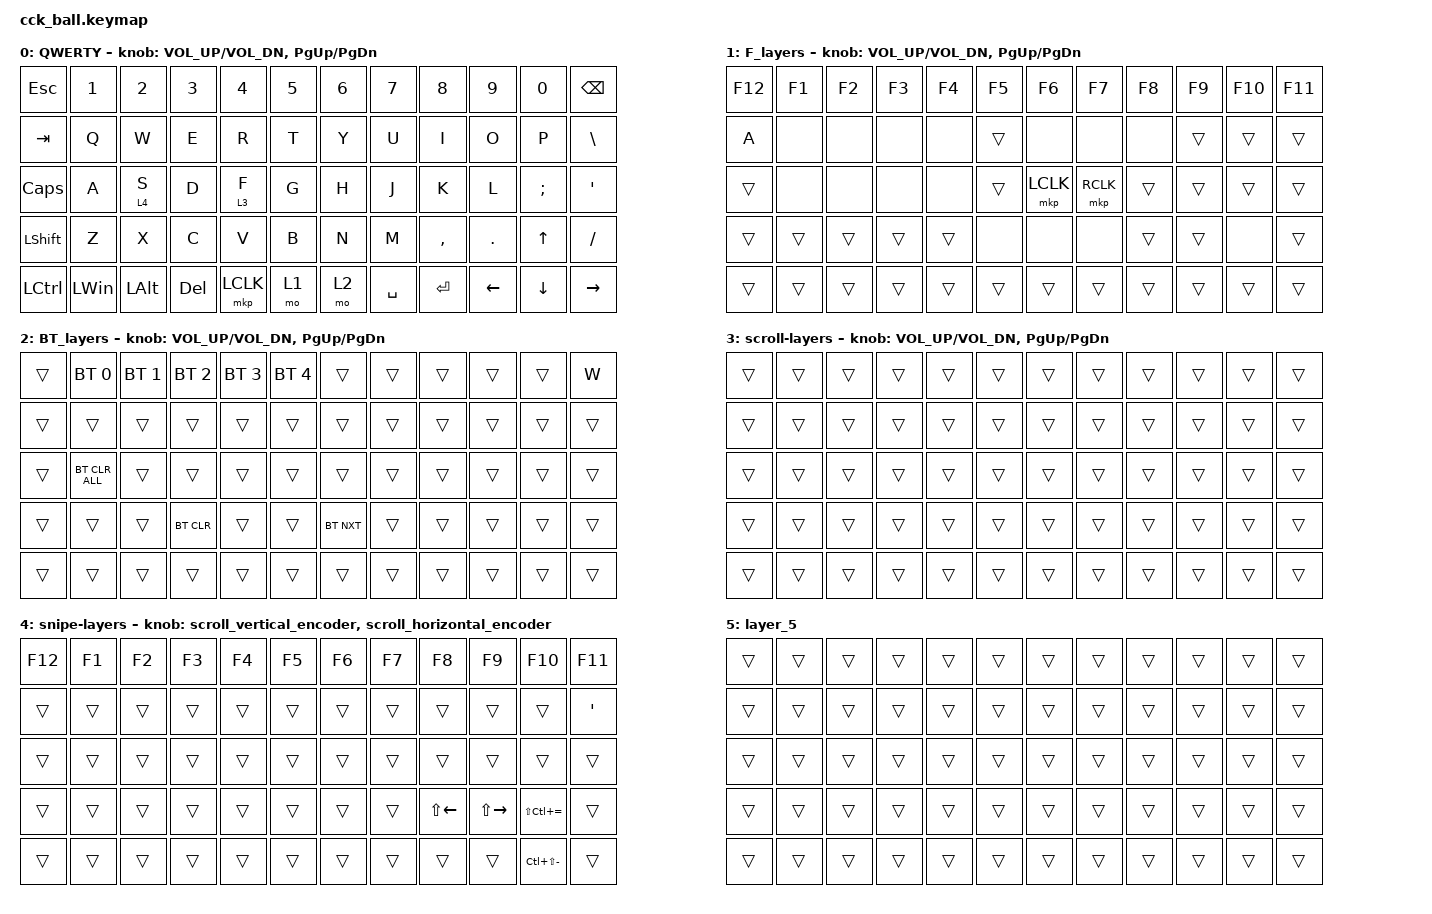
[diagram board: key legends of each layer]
#define ZMK_POINTING_DEFAULT_MOVE_VAL 1000 // 600
#define ZMK_POINTING_DEFAULT_SCRL_VAL 12   // 10

#include <input/processors.dtsi>
#include <zephyr/dt-bindings/input/input-event-codes.h>
#include <behaviors.dtsi>
#include <dt-bindings/zmk/bt.h>
#include <dt-bindings/zmk/keys.h>
#include <dt-bindings/zmk/pointing.h>

// TESTE: escaladores 2:1 removidos. Eles acumulam eventos antes de
// repassar, e estavam nos dois caminhos (cursor e scroll) - o que casa
// com o scroll tambem travar.
// &mmv_input_listener { input-processors = <&zip_xy_scaler 2 1>; };
// &msc_input_listener { input-processors = <&zip_scroll_scaler 2 1>; };

&msc {
    acceleration-exponent = <0>;      // 0
    time-to-max-speed-ms = <300>;       // 300
    delay-ms = <0>;                   // 0
};

&mmv {
    time-to-max-speed-ms = <500>;
    // 0 = movimento proporcional. Era 1 (aceleracao), que matava os
    // movimentos lentos e saturava os rapidos - so a faixa media funcionava
    acceleration-exponent = <0>;
    // 8ms em vez de 16: o sensor reporta a cada 4ms (250Hz), e um
    // entregador de 16ms acumula 4 leituras antes de repassar
    trigger-period-ms = <8>;
};

&soft_off { hold-time-ms = <2000>; };

/ {
    // 上下滚动编码器行为

    scroll_vertical_encoder: scroll_vertical_encoder {
        compatible = "zmk,behavior-sensor-rotate";
        #sensor-binding-cells = <0>;
        bindings = <&msc SCRL_DOWN>, <&msc SCRL_UP>;

        tap-ms = <100>;
    };

    // 左右滚动编码器行为

    scroll_horizontal_encoder: scroll_horizontal_encoder {
        compatible = "zmk,behavior-sensor-rotate";
        #sensor-binding-cells = <0>;
        bindings = <&msc SCRL_LEFT>, <&msc SCRL_RIGHT>;

        tap-ms = <100>;
    };

    behaviors {
    };

    keymap {
        compatible = "zmk,keymap";

        QWERTY {
            bindings = <
&kp ESC           &kp N1        &kp N2        &kp N3      &kp N4     &kp N5     &kp N6     &kp N7     &kp N8     &kp N9          &kp N0          &kp BACKSPACE
&kp TAB           &kp Q         &kp W         &kp E       &kp R      &kp T      &kp Y      &kp U      &kp I      &kp O           &kp P           &kp BSLH
&kp CAPSLOCK      &kp A         &lt 4 S       &kp D       &lt 3 F    &kp G      &kp H      &kp J      &kp K      &kp L           &kp SEMI        &kp SQT
&kp LEFT_SHIFT    &kp Z         &kp X         &kp C       &kp V      &kp B      &kp N      &kp M      &kp COMMA  &kp DOT         &kp UP_ARROW    &kp FSLH
&kp LEFT_CONTROL  &kp LEFT_WIN  &kp LEFT_ALT  &kp DELETE  &mkp LCLK  &mo 1      &mo 2      &kp SPACE  &kp ENTER  &kp LEFT_ARROW  &kp DOWN_ARROW  &kp RIGHT_ARROW
            >;

            sensor-bindings = <&inc_dec_kp C_VOL_UP C_VOL_DN &inc_dec_kp PG_UP PG_DN>;
        };

        F_layers {
            bindings = <
&kp F12  &kp F1  &kp F2  &kp F3  &kp F4  &kp F5  &kp F6     &kp F7     &kp F8  &kp F9  &kp F10  &kp F11
&kp A    &none   &none   &none   &none   &trans  &none      &none      &none   &trans  &trans   &trans
&trans   &none   &none   &none   &none   &trans  &mkp LCLK  &mkp RCLK  &trans  &trans  &trans   &trans
&trans   &trans  &trans  &trans  &trans  &none   &none      &none      &trans  &trans  &none    &trans
&trans   &trans  &trans  &trans  &trans  &trans  &trans     &trans     &trans  &trans  &trans   &trans
            >;

            sensor-bindings = <&inc_dec_kp C_VOL_UP C_VOL_DN &inc_dec_kp PG_UP PG_DN>;
        };

        BT_layers {
            bindings = <
&trans  &bt BT_SEL 0    &bt BT_SEL 1  &bt BT_SEL 2  &bt BT_SEL 3  &bt BT_SEL 4  &trans      &trans  &trans  &trans  &trans  &kp W
&trans  &trans          &trans        &trans        &trans        &trans        &trans      &trans  &trans  &trans  &trans  &trans
&trans  &bt BT_CLR_ALL  &trans        &trans        &trans        &trans        &trans      &trans  &trans  &trans  &trans  &trans
&trans  &trans          &trans        &bt BT_CLR    &trans        &trans        &bt BT_NXT  &trans  &trans  &trans  &trans  &trans
&trans  &trans          &trans        &trans        &trans        &trans        &trans      &trans  &trans  &trans  &trans  &trans
            >;

            sensor-bindings = <&inc_dec_kp C_VOL_UP C_VOL_DN &inc_dec_kp PG_UP PG_DN>;
        };

        scroll-layers {
            bindings = <
&trans  &trans  &trans  &trans  &trans  &trans  &trans  &trans  &trans  &trans  &trans  &trans
&trans  &trans  &trans  &trans  &trans  &trans  &trans  &trans  &trans  &trans  &trans  &trans
&trans  &trans  &trans  &trans  &trans  &trans  &trans  &trans  &trans  &trans  &trans  &trans
&trans  &trans  &trans  &trans  &trans  &trans  &trans  &trans  &trans  &trans  &trans  &trans
&trans  &trans  &trans  &trans  &trans  &trans  &trans  &trans  &trans  &trans  &trans  &trans
            >;

            sensor-bindings = <&inc_dec_kp C_VOL_UP C_VOL_DN &inc_dec_kp PG_UP PG_DN>;
        };

        snipe-layers {
            bindings = <
&kp F12  &kp F1  &kp F2  &kp F3  &kp F4  &kp F5  &kp F6  &kp F7  &kp F8              &kp F9               &kp F10            &kp F11
&trans   &trans  &trans  &trans  &trans  &trans  &trans  &trans  &trans              &trans               &trans             &kp APOS
&trans   &trans  &trans  &trans  &trans  &trans  &trans  &trans  &trans              &trans               &trans             &trans
&trans   &trans  &trans  &trans  &trans  &trans  &trans  &trans  &kp LS(LEFT_ARROW)  &kp LS(RIGHT_ARROW)  &kp LS(LC(EQUAL))  &trans
&trans   &trans  &trans  &trans  &trans  &trans  &trans  &trans  &trans              &trans               &kp LC(LS(MINUS))  &trans
            >;

            sensor-bindings =
                <&scroll_vertical_encoder>,
                // 编码器1：上下滚动,,
                <&scroll_horizontal_encoder>;

            // 编码器2：左右滚动
        };

        layer_5 {
            bindings = <
&trans  &trans  &trans  &trans  &trans  &trans  &trans  &trans  &trans  &trans  &trans  &trans
&trans  &trans  &trans  &trans  &trans  &trans  &trans  &trans  &trans  &trans  &trans  &trans
&trans  &trans  &trans  &trans  &trans  &trans  &trans  &trans  &trans  &trans  &trans  &trans
&trans  &trans  &trans  &trans  &trans  &trans  &trans  &trans  &trans  &trans  &trans  &trans
&trans  &trans  &trans  &trans  &trans  &trans  &trans  &trans  &trans  &trans  &trans  &trans
            >;
        };
    };
};
